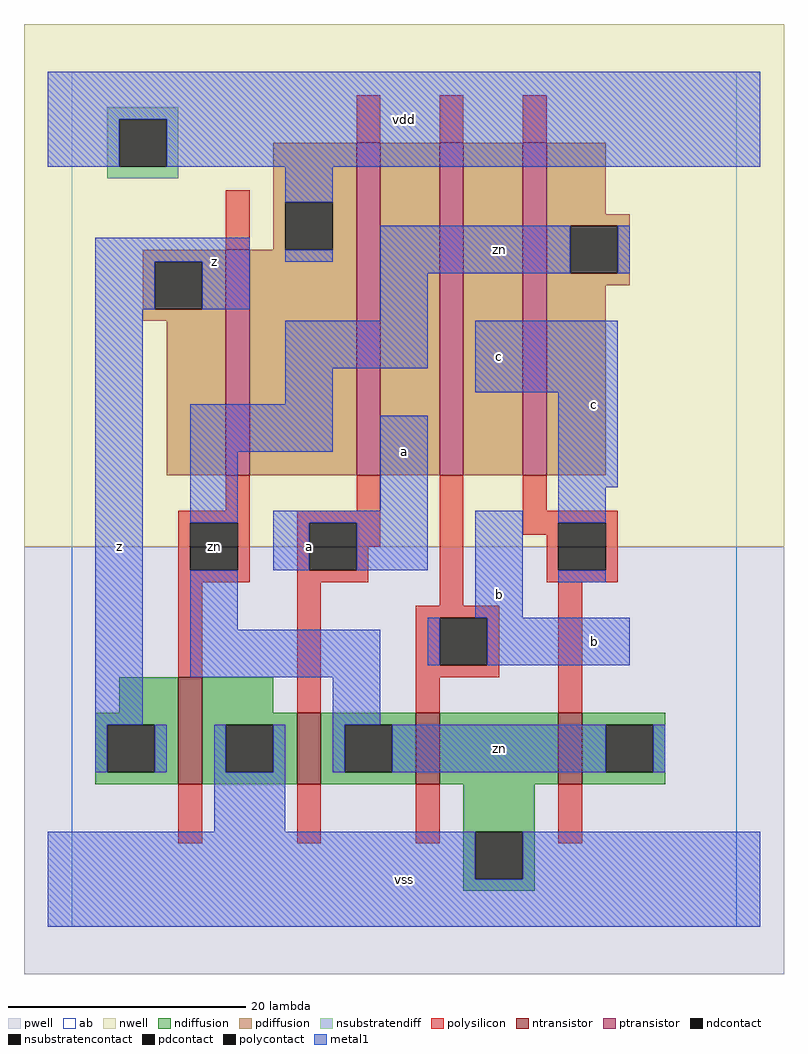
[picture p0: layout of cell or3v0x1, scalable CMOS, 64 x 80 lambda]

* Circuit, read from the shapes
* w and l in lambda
.subckt or3v0x1 a b c vdd vss z zn
M1 vss zn z VSUBS nfet w=9 l=2
M2 zn a vss VSUBS nfet w=6 l=2
M3 vss b zn VSUBS nfet w=6 l=2
M4 zn c vss VSUBS nfet w=6 l=2
M5 vdd zn z vdd pfet w=19 l=2
M6 n1 a vdd vdd pfet w=28 l=2
M7 n2 b n1 vdd pfet w=28 l=2
M8 zn c n2 vdd pfet w=28 l=2
.ends

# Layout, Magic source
magic
tech scmos
<< ab >>
rect 0 0 56 72
<< pwell >>
rect -4 -4 60 32
<< nwell >>
rect -4 32 60 76
<< polysilicon >>
rect 24 66 26 70
rect 31 66 33 70
rect 38 66 40 70
rect 13 57 15 62
rect 13 35 15 38
rect 24 35 26 38
rect 9 34 15 35
rect 9 30 10 34
rect 14 30 15 34
rect 9 29 15 30
rect 19 34 26 35
rect 19 30 20 34
rect 24 32 26 34
rect 24 30 25 32
rect 19 29 25 30
rect 9 21 11 29
rect 19 18 21 29
rect 31 27 33 38
rect 38 35 40 38
rect 38 34 46 35
rect 38 33 41 34
rect 40 30 41 33
rect 45 30 46 34
rect 40 29 46 30
rect 29 26 36 27
rect 29 22 31 26
rect 35 22 36 26
rect 29 21 36 22
rect 29 18 31 21
rect 41 18 43 29
rect 9 7 11 12
rect 19 7 21 12
rect 29 7 31 12
rect 41 7 43 12
<< ndiffusion >>
rect 4 18 9 21
rect 2 17 9 18
rect 2 13 3 17
rect 7 13 9 17
rect 2 12 9 13
rect 11 18 17 21
rect 11 17 19 18
rect 11 13 13 17
rect 17 13 19 17
rect 11 12 19 13
rect 21 17 29 18
rect 21 13 23 17
rect 27 13 29 17
rect 21 12 29 13
rect 31 12 41 18
rect 43 17 50 18
rect 43 13 45 17
rect 49 13 50 17
rect 43 12 50 13
rect 33 8 39 12
rect 33 4 34 8
rect 38 4 39 8
rect 33 3 39 4
<< pdiffusion >>
rect 17 61 24 66
rect 17 57 18 61
rect 22 57 24 61
rect 6 56 13 57
rect 6 52 7 56
rect 11 52 13 56
rect 6 51 13 52
rect 8 38 13 51
rect 15 38 24 57
rect 26 38 31 66
rect 33 38 38 66
rect 40 60 45 66
rect 40 59 47 60
rect 40 55 42 59
rect 46 55 47 59
rect 40 54 47 55
rect 40 38 45 54
<< metal1 >>
rect -2 68 58 72
rect -2 64 4 68
rect 8 64 58 68
rect 18 61 22 64
rect 2 56 15 58
rect 18 56 22 57
rect 2 52 7 56
rect 11 52 15 56
rect 26 55 42 59
rect 46 55 47 59
rect 2 17 6 52
rect 26 51 30 55
rect 18 47 30 51
rect 18 44 22 47
rect 34 45 46 51
rect 10 40 22 44
rect 10 34 14 40
rect 26 35 30 43
rect 41 37 46 45
rect 17 34 30 35
rect 17 30 20 34
rect 24 30 30 34
rect 10 25 14 30
rect 34 26 38 35
rect 41 34 45 37
rect 41 29 45 30
rect 10 21 26 25
rect 30 22 31 26
rect 35 22 47 26
rect 22 17 26 21
rect 2 13 3 17
rect 7 13 8 17
rect 12 13 13 17
rect 17 13 18 17
rect 22 13 23 17
rect 27 13 45 17
rect 49 13 50 17
rect 12 8 18 13
rect -2 4 34 8
rect 38 4 58 8
rect -2 0 58 4
<< ntransistor >>
rect 9 12 11 21
rect 19 12 21 18
rect 29 12 31 18
rect 41 12 43 18
<< ptransistor >>
rect 13 38 15 57
rect 24 38 26 66
rect 31 38 33 66
rect 38 38 40 66
<< polycontact >>
rect 10 30 14 34
rect 20 30 24 34
rect 41 30 45 34
rect 31 22 35 26
<< ndcontact >>
rect 3 13 7 17
rect 13 13 17 17
rect 23 13 27 17
rect 45 13 49 17
rect 34 4 38 8
<< pdcontact >>
rect 18 57 22 61
rect 7 52 11 56
rect 42 55 46 59
<< nsubstratencontact >>
rect 4 64 8 68
<< nsubstratendiff >>
rect 3 68 9 69
rect 3 64 4 68
rect 8 64 9 68
rect 3 63 9 64
<< labels >>
rlabel metal1 4 32 4 32 6 z
rlabel metal1 20 32 20 32 6 a
rlabel polycontact 12 32 12 32 6 zn
rlabel metal1 12 56 12 56 6 z
rlabel metal1 28 4 28 4 6 vss
rlabel metal1 36 28 36 28 6 b
rlabel metal1 28 40 28 40 6 a
rlabel metal1 36 48 36 48 6 c
rlabel metal1 28 68 28 68 6 vdd
rlabel metal1 36 15 36 15 6 zn
rlabel metal1 44 24 44 24 6 b
rlabel metal1 44 44 44 44 6 c
rlabel metal1 36 57 36 57 6 zn
<< end >>
